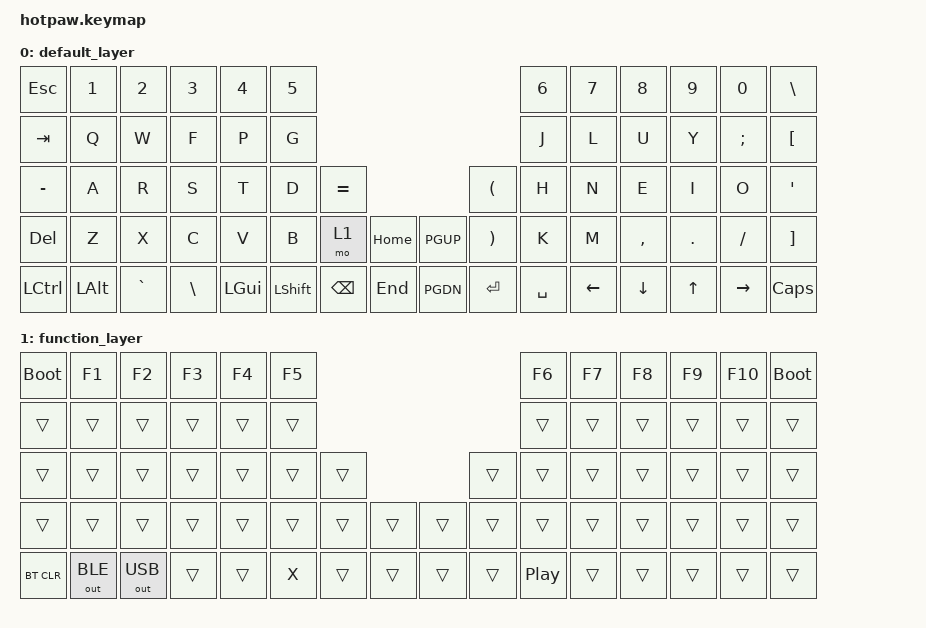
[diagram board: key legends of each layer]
#include <behaviors.dtsi>
#include <dt-bindings/zmk/bt.h>
#include <dt-bindings/zmk/keys.h>
#include <dt-bindings/zmk/outputs.h>

/ {
    keymap {
        compatible = "zmk,keymap";

        default_layer {
// ┌────┬────┬────┬────┬────┬────┐                          ┌────┬────┬────┬────┬────┬────┐
// │ ESC│  1 │  2 │  3 │  4 │  5 │                          │  6 │  7 │  8 │  9 │  0 │  - │
// ├────┼────┼────┼────┼────┼────┤                          ├────┼────┼────┼────┼────┼────┤
// │ TAB│  Q │  W │  F │  P │  G │                          │  J │  L │  U │  Y │  ; │  [ │
// ├────┼────┼────┼────┼────┼────┼────┐                ┌────┼────┼────┼────┼────┼────┼────┤
// │  - │  A │  R │  S │  T │  D │ =+ │                │  ( │  H │  N │  E │  I │  O │  ' │
// ├────┼────┼────┼────┼────┼────┼────┤                ├────┼────┼────┼────┼────┼────┼────┤
// │ DEL│  Z │  X │  C │  V │  B │ FN │                │  ) │  K │  M │  , │  . │  / │  ] │
// ├────┼────┼────┼────┼────┼────┴────┘                └────┴────┼────┼────┼────┼────┼────┤
// │CTRL│ ALT│ `~ │  \ │ OS │ ┌────┬────┬────┐  ┌────┬────┬────┐ │Left│Down│ Up │Rght│Caps│
// └────┴────┴────┴────┴────┘ │    │    │HOME│  │PGUP│    │    │ └────┴────┴────┴────┴────┘
//                            │SHFT│BKSP├────┤  ├────┤ENTR│ [] │
//                            │    │    │ END│  │PGDN│    │    │
//                            └────┴────┴────┘  └────┴────┴────┘
            bindings = <
    &kp ESC    &kp N1    &kp N2     &kp N3    &kp N4    &kp N5                                                  &kp N6     &kp N7    &kp N8    &kp N9    &kp N0    &kp BSLH
    &kp TAB    &kp Q     &kp W      &kp F     &kp P     &kp G                                                   &kp J      &kp L     &kp U     &kp Y     &kp SEMI  &kp LBKT
    &kp MINUS  &kp A     &kp R      &kp S     &kp T     &kp D      &kp EQUAL                          &kp LPAR  &kp H      &kp N     &kp E     &kp I     &kp O     &kp SQT
    &kp DEL    &kp Z     &kp X      &kp C     &kp V     &kp B      &mo 1         &kp HOME   &kp PGUP  &kp RPAR  &kp K      &kp M     &kp COMMA &kp DOT   &kp FSLH  &kp RBKT
    &kp LCTRL  &kp LALT  &kp GRAVE  &kp BSLH  &kp LGUI  &kp LSHFT  &kp BSPC      &kp END    &kp PGDN  &kp RET   &kp SPACE  &kp LEFT  &kp DOWN  &kp UP    &kp RIGHT &kp CAPS
            >;
        };

        function_layer {
// ┌────┬────┬────┬────┬────┬────┐                          ┌────┬────┬────┬────┬────┬────┐
// │BOOT│ F1 │ F2 │ F3 │ F4 │ F5 │                          │ F6 │ F7 │ F8 │ F9 │ F10│BOOT│
// ├────┼────┼────┼────┼────┼────┤                          ├────┼────┼────┼────┼────┼────┤
// │    │    │    │    │    │    │                          │    │    │  ü │    │    │    │
// ├────┼────┼────┼────┼────┼────┼────┐                ┌────┼────┼────┼────┼────┼────┼────┤
// │  — │  ä │    │    │  ™ │    │    │                │    │    │    │    │    │  ö │    │
// ├────┼────┼────┼────┼────┼────┼────┤                ├────┼────┼────┼────┼────┼────┼────┤
// │    │    │    │    │    │    │****│                │    │    │    │    │    │    │    │
// ├────┼────┼────┼────┼────┼────┴────┘                └────┴────┼────┼────┼────┼────┼────┤
// │BtCl│OutB│OutU│    │    │ ┌────┬────┬────┐  ┌────┬────┬────┐ │  ← │  ↓ │  ↑ │  → │    │
// └────┴────┴────┴────┴────┘ │    │    │    │  │    │    │    │ └────┴────┴────┴────┴────┘
//                            │  X │    ├────┤  ├────┤    │PLAY│
//                            │    │    │    │  │    │    │    │
//                            └────┴────┴────┘  └────┴────┴────┘
            bindings = <
    &bootloader &kp F1       &kp F2       &kp F3    &kp F4    &kp F5                                            &kp F6    &kp F7    &kp F8    &kp F9    &kp F10   &bootloader
    &trans      &trans       &trans       &trans    &trans    &trans                                            &trans    &trans    &trans    &trans    &trans    &trans
    &trans      &trans       &trans       &trans    &trans    &trans    &trans                        &trans    &trans    &trans    &trans    &trans    &trans    &trans
    &trans      &trans       &trans       &trans    &trans    &trans    &trans    &trans    &trans    &trans    &trans    &trans    &trans    &trans    &trans    &trans
    &bt BT_CLR  &out OUT_BLE &out OUT_USB &trans    &trans    &kp X     &trans    &trans    &trans    &trans    &kp C_PP  &trans    &trans    &trans    &trans    &trans
            >;

        };
    };
};


// ┌────┬────┬────┬────┬────┬────┐                          ┌────┬────┬────┬────┬────┬────┐
// │    │    │    │    │    │    │                          │    │    │    │    │    │    │
// ├────┼────┼────┼────┼────┼────┤                          ├────┼────┼────┼────┼────┼────┤
// │    │    │    │    │    │    │                          │    │    │    │    │    │    │
// ├────┼────┼────┼────┼────┼────┼────┐                ┌────┼────┼────┼────┼────┼────┼────┤
// │    │    │    │    │    │    │    │                │    │    │    │    │    │    │    │
// ├────┼────┼────┼────┼────┼────┼────┤                ├────┼────┼────┼────┼────┼────┼────┤
// │    │    │    │    │    │    │    │                │    │    │    │    │    │    │    │
// ├────┼────┼────┼────┼────┼────┴────┘                └────┴────┼────┼────┼────┼────┼────┤
// │    │    │    │    │    │ ┌────┬────┬────┐  ┌────┬────┬────┐ │    │    │    │    │    │
// └────┴────┴────┴────┴────┘ │    │    │    │  │    │    │    │ └────┴────┴────┴────┴────┘
//                            │    │    ├────┤  ├────┤    │    │
//                            │    │    │    │  │    │    │    │
//                            └────┴────┴────┘  └────┴────┴────┘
